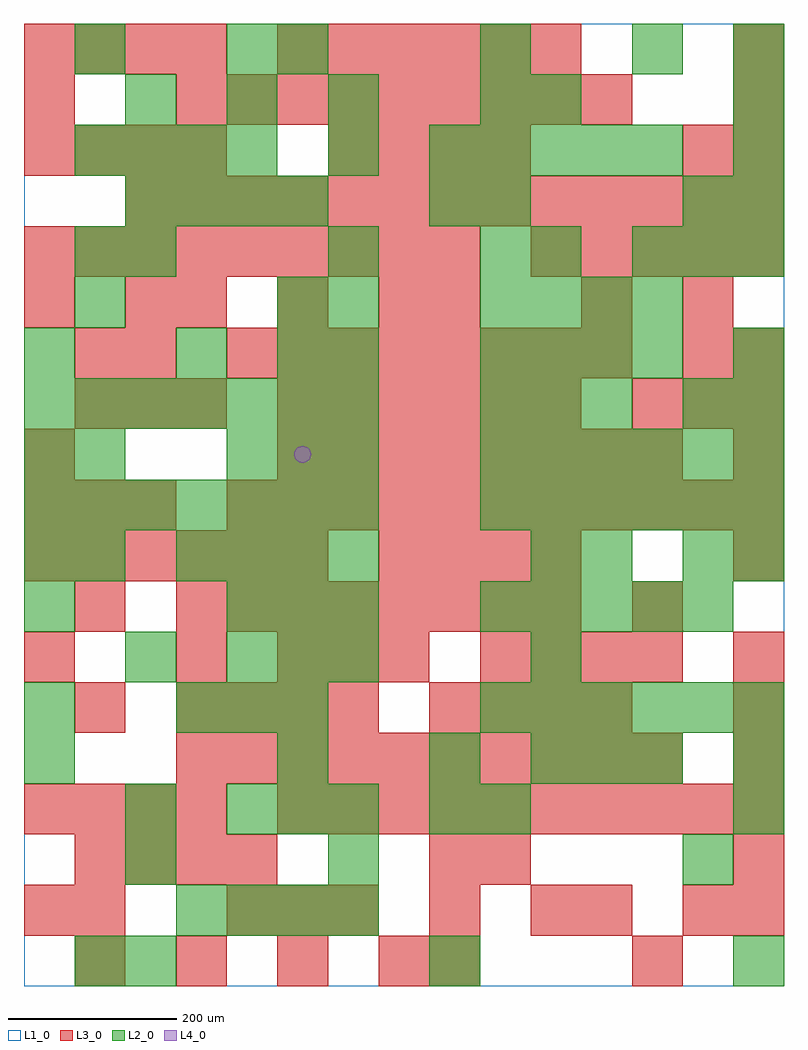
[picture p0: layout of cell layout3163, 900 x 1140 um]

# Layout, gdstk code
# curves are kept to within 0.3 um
import gdstk
lib = gdstk.Library(unit=1e-6, precision=1e-09)
def R(c, l, rs):  # rectangles x0, y0, x1, y1
    for r in rs: c.add(gdstk.rectangle(r[:2], r[2:], *l))
def A(c, l, x, y, w, h, nx, ny, dx, dy):  # array of equal rectangles
    R(c, l, [(x+i*dx, y+j*dy, x+i*dx+w, y+j*dy+h) for i in range(nx) for j in range(ny)])
def P(c, l, *ps):  # polygons
    for p in ps: c.add(gdstk.Polygon(p, *l))
L1_0 = (1, 0)
L2_0 = (2, 0)
L3_0 = (3, 0)
L4_0 = (4, 0)

layout3163 = lib.new_cell('layout3163')
R(layout3163, L1_0, [(0,0,900,1140)])
A(layout3163, L2_0, 120, 0, 60, 60, 3, 1, 360, 0)
A(layout3163, L2_0, 180, 60, 60, 60, 4, 2, 60, 420)
A(layout3163, L2_0, 240, 180, 60, 60, 3, 2, 60, 180)
A(layout3163, L2_0, 600, 240, 60, 60, 3, 1, 60, 0)
A(layout3163, L2_0, 180, 300, 60, 60, 3, 1, 60, 0)
A(layout3163, L2_0, 540, 300, 60, 60, 6, 2, 60, 240)
A(layout3163, L2_0, 240, 420, 60, 60, 3, 2, 60, 180)
A(layout3163, L2_0, 540, 420, 60, 60, 5, 1, 60, 0)
A(layout3163, L2_0, 0, 480, 60, 60, 1, 3, 0, 120)
A(layout3163, L2_0, 0, 540, 60, 60, 7, 2, 60, 120)
A(layout3163, L2_0, 540, 600, 60, 60, 6, 1, 60, 0)
A(layout3163, L2_0, 540, 660, 60, 60, 3, 1, 60, 0)
A(layout3163, L2_0, 360, 720, 60, 60, 1, 3, 0, 60)
A(layout3163, L2_0, 540, 720, 60, 60, 4, 2, 60, 60)
A(layout3163, L2_0, 720, 840, 60, 60, 3, 1, 60, 0)
A(layout3163, L2_0, 120, 900, 60, 60, 4, 1, 60, 0)
A(layout3163, L2_0, 840, 900, 60, 60, 1, 4, 0, 60)
A(layout3163, L2_0, 60, 960, 60, 60, 4, 1, 60, 0)
A(layout3163, L2_0, 480, 960, 60, 60, 5, 1, 60, 0)
A(layout3163, L2_0, 120, 1020, 60, 60, 3, 1, 120, 0)
R(layout3163, L2_0, [(60,0,120,60), (120,120,180,180), (360,120,420,180), (780,120,840,180), (120,180,180,240), (480,180,540,240), (540,180,600,240), (840,180,900,240), (0,240,60,300), (300,240,360,300), (480,240,540,300), (840,240,900,300), (0,300,60,360), (120,360,180,420), (600,360,660,420), (0,420,60,480), (60,480,120,540), (600,480,660,540), (660,480,720,540), (780,480,840,540), (840,480,900,540), (60,600,120,660), (780,660,840,720), (840,660,900,720), (180,720,240,780), (300,720,360,780), (840,720,900,780), (60,780,120,840), (300,780,360,840), (60,840,120,900), (120,840,180,900), (540,840,600,900), (600,840,660,900), (480,900,540,960), (540,900,600,960), (780,900,840,960), (360,960,420,1020), (540,1020,600,1080), (600,1020,660,1080), (60,1080,120,1140), (240,1080,300,1140), (300,1080,360,1140), (540,1080,600,1140), (720,1080,780,1140)])
A(layout3163, L3_0, 60, 0, 60, 60, 4, 1, 120, 0)
A(layout3163, L3_0, 480, 0, 60, 60, 1, 3, 0, 60)
A(layout3163, L3_0, 240, 60, 60, 60, 3, 1, 60, 0)
A(layout3163, L3_0, 60, 120, 60, 60, 4, 1, 60, 0)
A(layout3163, L3_0, 0, 180, 60, 60, 4, 2, 60, 780)
A(layout3163, L3_0, 300, 180, 60, 60, 10, 1, 60, 0)
A(layout3163, L3_0, 180, 240, 60, 60, 10, 1, 60, 0)
A(layout3163, L3_0, 840, 240, 60, 60, 1, 3, 0, 60)
A(layout3163, L3_0, 180, 300, 60, 60, 4, 1, 60, 0)
A(layout3163, L3_0, 480, 300, 60, 60, 4, 1, 60, 0)
A(layout3163, L3_0, 300, 360, 60, 60, 3, 1, 60, 0)
A(layout3163, L3_0, 540, 360, 60, 60, 4, 1, 60, 0)
A(layout3163, L3_0, 180, 420, 60, 60, 8, 1, 60, 0)
A(layout3163, L3_0, 0, 480, 60, 60, 6, 1, 60, 0)
A(layout3163, L3_0, 420, 480, 60, 60, 4, 1, 60, 0)
A(layout3163, L3_0, 840, 480, 60, 60, 1, 3, 0, 120)
A(layout3163, L3_0, 0, 540, 60, 60, 3, 1, 60, 0)
A(layout3163, L3_0, 240, 540, 60, 60, 11, 1, 60, 0)
A(layout3163, L3_0, 300, 600, 60, 60, 8, 1, 60, 0)
A(layout3163, L3_0, 60, 660, 60, 60, 3, 1, 60, 0)
A(layout3163, L3_0, 300, 660, 60, 60, 6, 2, 60, 420)
A(layout3163, L3_0, 720, 660, 60, 60, 3, 1, 60, 0)
A(layout3163, L3_0, 240, 720, 60, 60, 8, 1, 60, 0)
A(layout3163, L3_0, 180, 780, 60, 60, 3, 1, 120, 0)
A(layout3163, L3_0, 0, 840, 60, 60, 9, 1, 60, 0)
A(layout3163, L3_0, 600, 840, 60, 60, 5, 1, 60, 0)
A(layout3163, L3_0, 120, 900, 60, 60, 13, 1, 60, 0)
A(layout3163, L3_0, 360, 960, 60, 60, 4, 1, 60, 0)
A(layout3163, L3_0, 840, 960, 60, 60, 1, 3, 0, 60)
A(layout3163, L3_0, 180, 1020, 60, 60, 9, 1, 60, 0)
A(layout3163, L3_0, 0, 1080, 60, 60, 4, 1, 60, 0)
R(layout3163, L3_0, [(720,0,780,60), (0,60,60,120), (60,60,120,120), (600,60,660,120), (660,60,720,120), (780,60,840,120), (840,60,900,120), (540,120,600,180), (840,120,900,180), (60,300,120,360), (0,360,60,420), (180,360,240,420), (60,420,120,480), (720,420,780,480), (0,600,60,660), (60,720,120,780), (120,720,180,780), (780,720,840,780), (0,780,60,840), (120,780,180,840), (480,780,540,840), (660,780,720,840), (780,780,840,840), (780,960,840,1020), (0,1020,60,1080)])
P(layout3163, L4_0, [(340,630),(339.239,633.827),(337.071,637.071),(333.827,639.239),(330,640),(326.173,639.239),(322.929,637.071),(320.761,633.827),(320,630),(320.761,626.173),(322.929,622.929),(326.173,620.761),(330,620),(333.827,620.761),(337.071,622.929),(339.239,626.173)])

lib.write_gds('layout3163.gds')
